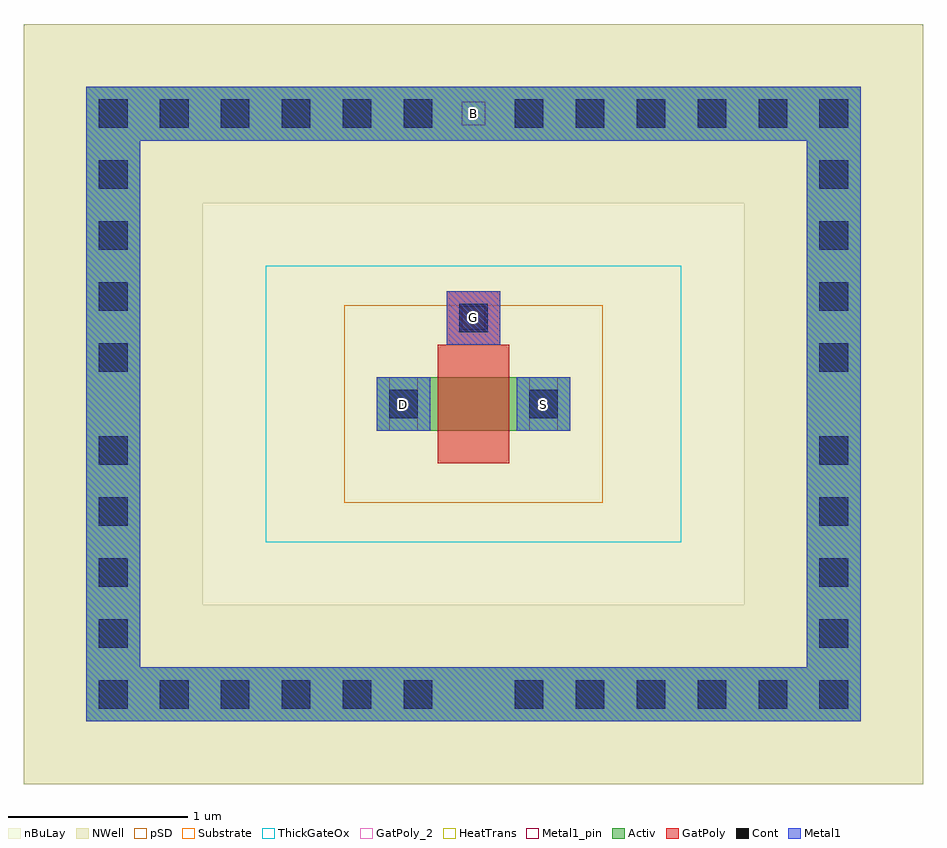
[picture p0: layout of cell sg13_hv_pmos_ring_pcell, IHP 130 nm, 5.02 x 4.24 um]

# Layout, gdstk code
from math import pi, radians
import gdstk
lib = gdstk.Library(unit=1e-6, precision=1e-09)
def R(c, l, rs):  # rectangles x0, y0, x1, y1
    for r in rs: c.add(gdstk.rectangle(r[:2], r[2:], *l))
def A(c, l, x, y, w, h, nx, ny, dx, dy):  # array of equal rectangles
    R(c, l, [(x+i*dx, y+j*dy, x+i*dx+w, y+j*dy+h) for i in range(nx) for j in range(ny)])
def P(c, l, *ps):  # polygons
    for p in ps: c.add(gdstk.Polygon(p, *l))
Activ = (1, 0)
GatPoly = (5, 0)
GatPoly_2 = (5, 2)
Cont = (6, 0)
Metal1 = (8, 0)
Metal1_pin = (8, 2)
pSD = (14, 0)
NWell = (31, 0)
nBuLay = (32, 0)
Substrate = (40, 0)
ThickGateOx = (44, 0)
HeatTrans = (51, 0)

pmoshv = lib.new_cell('pmosHV')
R(pmoshv, Activ, [(0,0,0.3,0.3), (0,0,1.08,0.3), (0.78,0,1.08,0.3)])
R(pmoshv, GatPoly, [(0.34,-0.18,0.74,0.48)])
R(pmoshv, GatPoly_2, [(0.34,-0.18,0.74,0.48)])
R(pmoshv, Cont, [(0.07,0.07,0.23,0.23), (0.85,0.07,1.01,0.23)])
R(pmoshv, Metal1, [(0.07,0,0.23,0.3), (0.85,0,1.01,0.3)])
R(pmoshv, Metal1_pin, [(0.07,0,0.23,0.3), (0.85,0,1.01,0.3)])
R(pmoshv, pSD, [(-0.18,-0.4,1.26,0.7)])
R(pmoshv, NWell, [(-0.62,-0.62,1.7,0.92)])
R(pmoshv, Substrate, [(0.78,0,1.08,0.3)])
R(pmoshv, ThickGateOx, [(-0.62,-0.62,1.7,0.92)])
R(pmoshv, HeatTrans, [(0.34,-0.18,0.74,0.48)])
pmoshv.add(gdstk.Label('pmosHV', (0.54,0.15), layer=63, texttype=0))
pmoshv.add(gdstk.Label('pmos', (0.54,0.15), layer=51, texttype=0))

via = lib.new_cell('Via')
R(via, GatPoly, [(-0.15,-0.15,0.15,0.15)])
R(via, Cont, [(-0.08,-0.08,0.08,0.08)])
R(via, Metal1, [(-0.13,-0.08,0.13,0.08)])

guard_ring = lib.new_cell('guard_ring')
R(guard_ring, Activ, [(-1.77,-1.86,-1.47,1.86), (1.47,-1.86,1.77,1.86), (-1.77,1.86,1.77,2.16)])
P(guard_ring, Activ, [(-1.77,-2.16),(-1.77,1.86),(-1.47,1.86),(-1.47,-1.86),(1.47,-1.86),(1.47,1.86),(-1.77,1.86),(-1.77,2.16),(1.77,2.16),(1.77,-2.16)])
A(guard_ring, Cont, -1.7, -2.09, 0.16, 0.16, 5, 2, 0.34, 4.02)
A(guard_ring, Cont, 0.18, -2.09, 0.16, 0.16, 5, 2, 0.34, 4.02)
A(guard_ring, Cont, -1.7, -1.75, 0.16, 0.16, 1, 5, 0, 0.34)
A(guard_ring, Cont, 1.54, -1.75, 0.16, 0.16, 1, 5, 0, 0.34)
A(guard_ring, Cont, -1.7, 0.23, 0.16, 0.16, 1, 5, 0, 0.34)
A(guard_ring, Cont, 1.54, 0.23, 0.16, 0.16, 1, 5, 0, 0.34)
R(guard_ring, Metal1, [(-1.77,-2.16,1.77,-1.86), (-1.77,-1.86,-1.47,1.86), (1.47,-1.86,1.77,1.86), (-1.77,1.86,1.77,2.16)])
R(guard_ring, NWell, [(-2.12,-2.51,2.12,2.51)])
R(guard_ring, nBuLay, [(-2.12,-1.51,-1.12,1.51), (1.12,-1.51,2.12,1.51), (-2.12,1.51,2.12,2.51)])
P(guard_ring, nBuLay, [(-2.12,-2.51),(-2.12,1.51),(-1.12,1.51),(-1.12,-1.51),(1.12,-1.51),(1.12,1.51),(-2.12,1.51),(-2.12,2.51),(2.12,2.51),(2.12,-2.51)])
guard_ring.add(gdstk.Label('well', (0,-2.01), layer=63, texttype=0))

sg13_hv_pmos_ring_pcell = lib.new_cell('sg13_hv_pmos_ring_pcell')
R(sg13_hv_pmos_ring_pcell, Metal1, [(0.62,0.62,0.92,0.92), (1.4,0.62,1.7,0.92), (1.01,1.1,1.31,1.4)])
R(sg13_hv_pmos_ring_pcell, Metal1_pin, [(0.705,0.705,0.835,0.835), (1.485,0.705,1.615,0.835), (1.095,1.185,1.225,1.315), (1.095,2.325,1.225,2.455)])
sg13_hv_pmos_ring_pcell.add(gdstk.Reference(pmoshv, (1.7,0.92), rotation=pi))
sg13_hv_pmos_ring_pcell.add(gdstk.Reference(via, (1.16,1.25), rotation=3*pi/2))
sg13_hv_pmos_ring_pcell.add(gdstk.Reference(guard_ring, (1.16,0.77), rotation=pi/2))
sg13_hv_pmos_ring_pcell.add(gdstk.Label('B', (1.16,2.39), layer=8, texttype=25))
sg13_hv_pmos_ring_pcell.add(gdstk.Label('D', (0.77,0.77), layer=8, texttype=25))
sg13_hv_pmos_ring_pcell.add(gdstk.Label('S', (1.55,0.77), layer=8, texttype=25))
sg13_hv_pmos_ring_pcell.add(gdstk.Label('G', (1.16,1.25), layer=8, texttype=25))

lib.write_gds('sg13_hv_pmos_ring_pcell.gds')
